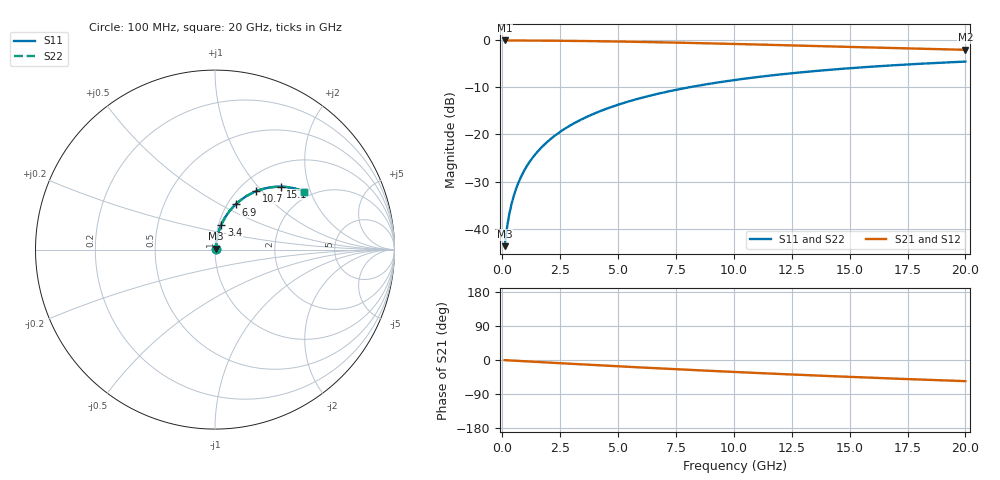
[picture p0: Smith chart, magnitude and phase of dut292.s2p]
! Touchstone file exported from HFSS 2026.1.0
!  File:  C:/ffzhzh/LocalFiles/Ansys_Project_Files/temp_train_BSMRDL_292_1782989294_6248.aedt
!  Generated:  06:49:45 PM Jul  2, 2026
!  Design:  BSMRDL
!  Project:  temp_train_BSMRDL_292_1782989294_6248
! Variables:
!  h_bsmrdl = 4.2um
!  h_ox = 20um
!  h_rdl = 5um
!  h_sub = 80um
!  h_tmrdl = 5um
!  h_tsv = 80um
!  h_via = 3um
!  l_bsmrdl = 779.64um
!  l_sub = 1179.64um
!  l_tmrdl = 200um
!  m_sub = 200um
!  pitch = 57.63um
!  r_tsv = 6um
!  s_tmrdl = 10um
!  w_bsmrdl = 13.96um
!  w_sub = 500um
!  w_tmrdl = 12um
!  x_tsv_center1 = 206um
!  x_tsv_center2 = 999.6um
!  x_tsv_center3 = 1211.6um
!  x_tsv_center4 = 2005.2um
!  x_tsv_center5 = 2217.2um
!  x_tsv_center6 = 3010.8um
# GHz S MA R 50.000000
! Terminal data exported
! Port[1] = BSM_RDL1_1_T1
! Port[2] = BSM_RDL1_1_T2
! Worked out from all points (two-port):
!   200 points, 100 MHz to 20 GHz, reference 50 ohm
!   highest |S21| = -0.04 dB at 100 MHz (marker M1); lowest = -2.0 dB at 20 GHz (marker M2)
!   |S21| within 3 dB of the highest: start of sweep to end of sweep
!   lowest |S11| = -43.7 dB at 100 MHz (marker M3), VSWR 1.01, Z = 50.5 + j0.449 ohm
!   |S11| at or under -10 dB: start of sweep to 8.054 GHz
!   |S22| runs from -43.7 to -4.5 dB; largest |S21 - S12| = 4.3e-15
!   S11 on the Smith chart (normalised r, x): 100 MHz: 1.01, +0.01; 3.4 GHz: 1.03, +0.29; 6.9 GHz: 1.09, +0.59; 10.7 GHz: 1.20, +0.93; 15.1 GHz: 1.42, +1.34; 20 GHz: 1.82, +1.81
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0.1  0.006521 42.9  0.9952 -0.3  0.9952 -0.3  0.006521 42.9
! Gamma 0 0 0 0
! Port Impedance 50 0 50 0
0.2  0.01013 60.8  0.9951 -0.7  0.9951 -0.7  0.01013 60.8
0.3  0.01417 68.5  0.995 -1.0  0.995 -1.0  0.01417 68.5
0.4  0.01832 72.5  0.9948 -1.4  0.9948 -1.4  0.01832 72.5
0.5  0.02251 75.0  0.9946 -1.7  0.9946 -1.7  0.02251 75.0
0.7  0.03093 77.7  0.9942 -2.4  0.9942 -2.4  0.03093 77.7
1  0.04361 79.3  0.9936 -3.4  0.9936 -3.4  0.04361 79.3
1.4  0.06055 79.8  0.9925 -4.7  0.9925 -4.7  0.06055 79.8
2  0.08586 79.2  0.9903 -6.8  0.9903 -6.8  0.08586 79.2
2.6  0.1109 77.9  0.9874 -8.8  0.9874 -8.8  0.1109 77.9
3.4  0.1437 75.8  0.9825 -11.4  0.9825 -11.4  0.1437 75.8
3.5  0.1478 75.5  0.9818 -11.7  0.9818 -11.7  0.1478 75.5
5  0.2069 71.1  0.9699 -16.6  0.9699 -16.6  0.2069 71.1
6.8  0.2732 65.8  0.952 -22.2  0.952 -22.2  0.2733 65.7
6.9  0.2768 65.5  0.9509 -22.5  0.9509 -22.5  0.2768 65.4
8.4  0.3276 61.2  0.9338 -26.9  0.9338 -26.9  0.3276 61.1
10.1  0.3804 56.4  0.9129 -31.8  0.9129 -31.8  0.3805 56.4
10.7  0.3979 54.8  0.9053 -33.5  0.9053 -33.5  0.3979 54.8
13.4  0.4686 47.9  0.8705 -40.6  0.8705 -40.6  0.4686 47.8
15.1  0.5069 43.8  0.8488 -44.8  0.8488 -44.8  0.5069 43.7
16.7  0.5389 40.1  0.829 -48.6  0.829 -48.6  0.5389 40.0
20  0.5936 33.0  0.7915 -55.8  0.7915 -55.8  0.5936 32.9
